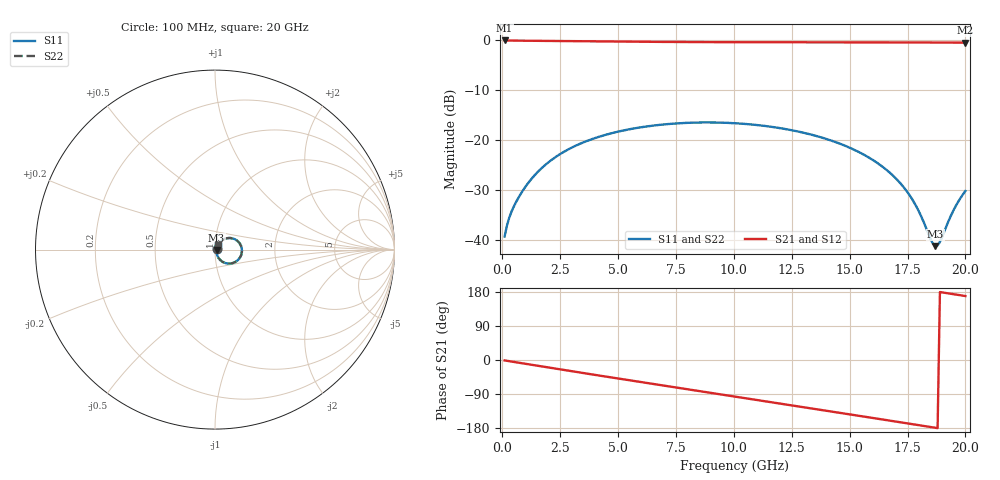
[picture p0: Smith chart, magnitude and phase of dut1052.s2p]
! Touchstone file exported from HFSS 2026.1.0
!  File:  C:/ffzhzh/LocalFiles/Ansys_Project_Files/temp_train_TSV_RDL_1052_1783296969_5512.aedt
!  Generated:  08:24:35 AM Jul  6, 2026
!  Design:  TSV_RDL
!  Project:  temp_train_TSV_RDL_1052_1783296969_5512
! Variables:
!  h_bsmrdl = 4.6um
!  h_ox = 20um
!  h_rdl = 5um
!  h_sub = 72.24um
!  h_tmrdl = 4.25um
!  h_tsv = 72.24um
!  h_via = 3um
!  l_bsmrdl = 584.53um
!  l_sub = 3268.8um
!  l_tmrdl = 234.83um
!  m_sub = 200um
!  pitch = 37.6um
!  r_tsv = 7.72um
!  s_tmrdl = 10um
!  w_bsmrdl = 28.76um
!  w_sub = 500um
!  w_tmrdl = 29.87um
!  x_tsv_center1 = 249.765um
!  x_tsv_center2 = 863.055um
!  x_tsv_center3 = 1127.755um
!  x_tsv_center4 = 1741.045um
!  x_tsv_center5 = 2005.745um
!  x_tsv_center6 = 2619.035um
# GHz S MA R 50.000000
! Terminal data exported
! Port[1] = TM_RDL1_1_T1
! Port[2] = TM_RDL5_1_T1
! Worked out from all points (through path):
!   200 points, 100 MHz to 20 GHz, reference 50 ohm
!   highest |S21| = -0.09 dB at 100 MHz (marker M1); lowest = -0.5 dB at 20 GHz (marker M2)
!   group delay of S21, straight-line fit = 26.4 ps
!   lowest |S11| = -41.2 dB at 18.7 GHz (marker M3), VSWR 1.02, Z = 50.9 - j0.157 ohm
!   |S11| at or under -10 dB: start of sweep to end of sweep
!   |S22| runs from -41.3 to -16.5 dB; largest |S21 - S12| = 1.7e-14
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0.1  0.01091 24.7  0.9902 -1.1  0.9902 -1.1  0.01091 24.7
! Gamma 0 0 0 0
! Port Impedance 50 0 50 0
0.3  0.01683 40.5  0.9877 -3.1  0.9877 -3.1  0.01683 40.5
0.5  0.0218 46.6  0.9863 -5.1  0.9863 -5.1  0.0218 46.6
1.3  0.0421 55.1  0.9834 -13.0  0.9834 -13.0  0.0421 55.1
2.3  0.06778 51.5  0.9791 -22.8  0.9791 -22.8  0.06779 51.5
3.5  0.095 42.3  0.9729 -34.4  0.9729 -34.4  0.095 42.3
5.2  0.1245 27.7  0.9644 -50.7  0.9644 -50.7  0.1245 27.7
6.8  0.1422 13.6  0.9581 -65.9  0.9581 -65.9  0.1422 13.6
8.5  0.1501 -1.3  0.9534 -81.9  0.9534 -81.9  0.1501 -1.3
10.1  0.1473 -15.3  0.9508 -97.0  0.9508 -97.0  0.1473 -15.3
11.7  0.1351 -29.1  0.9496 -112.1  0.9496 -112.1  0.1351 -29.2
13.4  0.1127 -43.6  0.9491 -128.2  0.9491 -128.2  0.1127 -43.7
15.3  0.07809 -58.9  0.9485 -146.3  0.9485 -146.3  0.07812 -59.0
16.7  0.04811 -67.6  0.9474 -159.6  0.9474 -159.6  0.04814 -67.8
17.2  0.03691 -68.9  0.9469 -164.4  0.9469 -164.4  0.03693 -69.2
17.7  0.02573 -67.4  0.9462 -169.2  0.9462 -169.2  0.02573 -67.8
18.1  0.01717 -60.3  0.9455 -173.1  0.9455 -173.1  0.01713 -60.9
18.5  0.01021 -35.9  0.9448 -176.9  0.9448 -176.9  0.0101 -36.8
18.7  0.008732 -10.2  0.9444 -178.8  0.9444 -178.8  0.008565 -10.7
18.9  0.009643 17.3  0.944 179.3  0.944 179.3  0.00946 17.3
19.5  0.02021 50.9  0.9427 173.6  0.9427 173.6  0.02008 51.2
20  0.03107 55.6  0.9415 168.8  0.9415 168.8  0.03096 55.8
